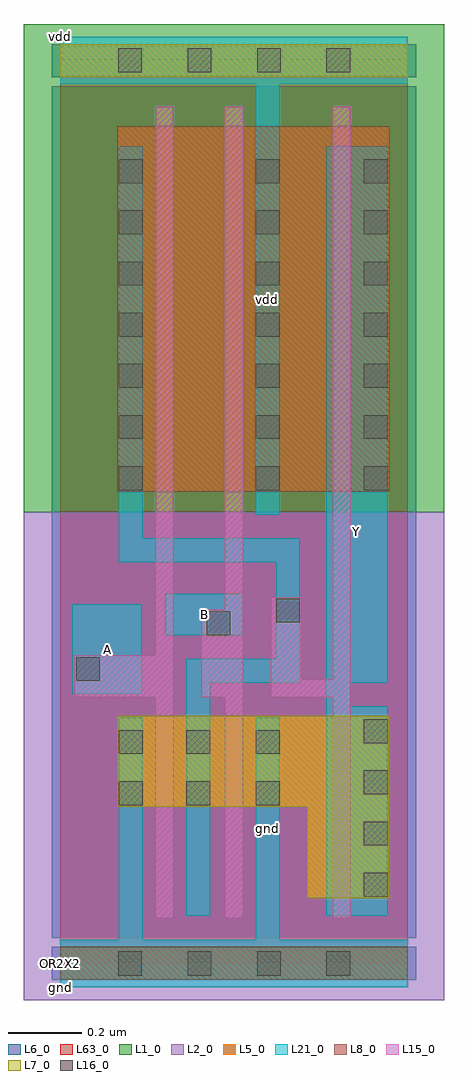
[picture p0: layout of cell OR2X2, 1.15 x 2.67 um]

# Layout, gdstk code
import gdstk
lib = gdstk.Library(unit=1e-6, precision=1e-09)
def R(c, l, rs):  # rectangles x0, y0, x1, y1
    for r in rs: c.add(gdstk.rectangle(r[:2], r[2:], *l))
def A(c, l, x, y, w, h, nx, ny, dx, dy):  # array of equal rectangles
    R(c, l, [(x+i*dx, y+j*dy, x+i*dx+w, y+j*dy+h) for i in range(nx) for j in range(ny)])
def P(c, l, *ps):  # polygons
    for p in ps: c.add(gdstk.Polygon(p, *l))
L1_0 = (1, 0)
L2_0 = (2, 0)
L5_0 = (5, 0)
L6_0 = (6, 0)
L7_0 = (7, 0)
L8_0 = (8, 0)
L15_0 = (15, 0)
L16_0 = (16, 0)
L21_0 = (21, 0)
L63_0 = (63, 0)

or2x2 = lib.new_cell('OR2X2')
R(or2x2, L1_0, [(-0.1,1.235,1.05,2.57)])
R(or2x2, L2_0, [(-0.1,-0.1,1.05,1.235)])
R(or2x2, L5_0, [(0,-0.045,0.95,0.045), (0.745,0.178,0.795,0.678), (0.795,0.178,0.9,0.678), (0.155,0.428,0.26,0.678), (0.26,0.428,0.31,0.678), (0.31,0.428,0.45,0.678), (0.45,0.428,0.5,0.678), (0.155,1.29,0.26,2.29), (0.26,1.29,0.31,2.29), (0.31,1.29,0.45,2.29), (0.45,1.29,0.5,2.29), (0.5,1.29,0.745,2.29), (0.745,1.29,0.795,2.29), (0.795,1.29,0.9,2.29), (0,2.425,0.95,2.515)])
P(or2x2, L5_0, [(0.745,0.678),(0.745,0.178),(0.675,0.178),(0.675,0.428),(0.5,0.428),(0.5,0.678)])
R(or2x2, L6_0, [(-0.023,-0.045,0.973,0.045), (-0.023,-0.045,0.973,0.045), (-0.023,0.07,0.973,1.235), (-0.023,1.235,0.973,2.4), (-0.023,2.425,0.973,2.515), (-0.023,2.425,0.973,2.515)])
R(or2x2, L7_0, [(0.745,0.178,0.795,0.678), (0.795,0.178,0.9,0.678), (0.155,0.428,0.26,0.678), (0.26,0.428,0.31,0.678), (0.31,0.428,0.45,0.678), (0.45,0.428,0.5,0.678), (0,2.425,0.95,2.515)])
P(or2x2, L7_0, [(0.745,0.678),(0.745,0.178),(0.675,0.178),(0.675,0.428),(0.5,0.428),(0.5,0.678)])
R(or2x2, L8_0, [(0,-0.045,0.95,0.045), (0.155,1.29,0.26,2.29), (0.26,1.29,0.31,2.29), (0.31,1.29,0.45,2.29), (0.45,1.29,0.5,2.29), (0.5,1.29,0.745,2.29), (0.745,1.29,0.795,2.29), (0.795,1.29,0.9,2.29)])
R(or2x2, L15_0, [(0.26,0.123,0.31,0.428), (0.45,0.123,0.5,0.428), (0.745,0.123,0.795,0.178), (0.745,0.178,0.795,0.678), (0.26,0.428,0.31,0.678), (0.45,0.428,0.5,0.678), (0.26,1.29,0.31,2.29), (0.45,1.29,0.5,2.29), (0.745,1.29,0.795,2.29), (0.26,2.29,0.31,2.345), (0.45,2.29,0.5,2.345), (0.745,2.29,0.795,2.345)])
P(or2x2, L15_0, [(0.26,0.728),(0.038,0.728),(0.038,0.843),(0.26,0.843),(0.26,1.29),(0.31,1.29),(0.31,0.678),(0.26,0.678)],
  [(0.45,0.728),(0.385,0.728),(0.385,0.968),(0.45,0.968),(0.45,1.29),(0.5,1.29),(0.5,0.678),(0.45,0.678)],
  [(0.745,0.728),(0.575,0.728),(0.575,1.002),(0.66,1.002),(0.66,0.778),(0.745,0.778),(0.745,1.29),(0.795,1.29),(0.795,0.678),(0.745,0.678)])
A(or2x2, L16_0, 0.158, -0.033, 0.065, 0.066, 4, 1, 0.19, 0)
A(or2x2, L16_0, 0.83, 0.183, 0.065, 0.065, 1, 4, 0, 0.14)
A(or2x2, L16_0, 0.16, 1.295, 0.065, 0.065, 1, 7, 0, 0.14)
A(or2x2, L16_0, 0.535, 1.295, 0.065, 0.065, 1, 7, 0, 0.14)
A(or2x2, L16_0, 0.83, 1.295, 0.065, 0.065, 1, 7, 0, 0.14)
A(or2x2, L16_0, 0.158, 2.438, 0.065, 0.065, 4, 1, 0.19, 0)
R(or2x2, L16_0, [(0.16,0.433,0.225,0.498), (0.345,0.433,0.41,0.498), (0.535,0.433,0.6,0.498), (0.16,0.573,0.225,0.638), (0.345,0.573,0.41,0.638), (0.535,0.573,0.6,0.638), (0.043,0.773,0.108,0.838), (0.4,0.898,0.465,0.963), (0.59,0.933,0.655,0.998)])
R(or2x2, L21_0, [(0.033,0.738,0.223,0.983), (0.288,0.898,0.5,1.012)])
P(or2x2, L21_0, [(0,2.405),(0,2.535),(0.95,2.535),(0.95,2.405),(0.6,2.405),(0.6,1.228),(0.535,1.228),(0.535,2.405)],
  [(0.16,0.065),(0.16,0.673),(0.225,0.673),(0.225,0.065),(0.535,0.065),(0.535,0.673),(0.6,0.673),(0.6,0.065),(0.95,0.065),(0.95,-0.065),(0,-0.065),(0,0.065)],
  [(0.59,0.833),(0.59,1.098),(0.16,1.098),(0.16,2.235),(0.225,2.235),(0.225,1.163),(0.655,1.163),(0.655,0.768),(0.41,0.768),(0.41,0.13),(0.345,0.13),(0.345,0.833)],
  [(0.728,2.235),(0.895,2.235),(0.895,0.768),(0.793,0.768),(0.793,0.703),(0.895,0.703),(0.895,0.13),(0.728,0.13)])
R(or2x2, L63_0, [(0,0,0.95,2.47)])
or2x2.add(gdstk.Label('vdd', (0.568,1.816), layer=21, texttype=1))
or2x2.add(gdstk.Label('gnd', (0.568,0.369), layer=21, texttype=1))
or2x2.add(gdstk.Label('A', (0.128,0.86), layer=21, texttype=1))
or2x2.add(gdstk.Label('B', (0.394,0.955), layer=21, texttype=1))
or2x2.add(gdstk.Label('Y', (0.811,1.183), layer=21, texttype=1))
or2x2.add(gdstk.Label('vdd', (0,2.535), layer=21, texttype=2))
or2x2.add(gdstk.Label('gnd', (0,-0.065), layer=21, texttype=2))
or2x2.add(gdstk.Label('OR2X2', (0,0), layer=63, texttype=1))

lib.write_gds('OR2X2.gds')
